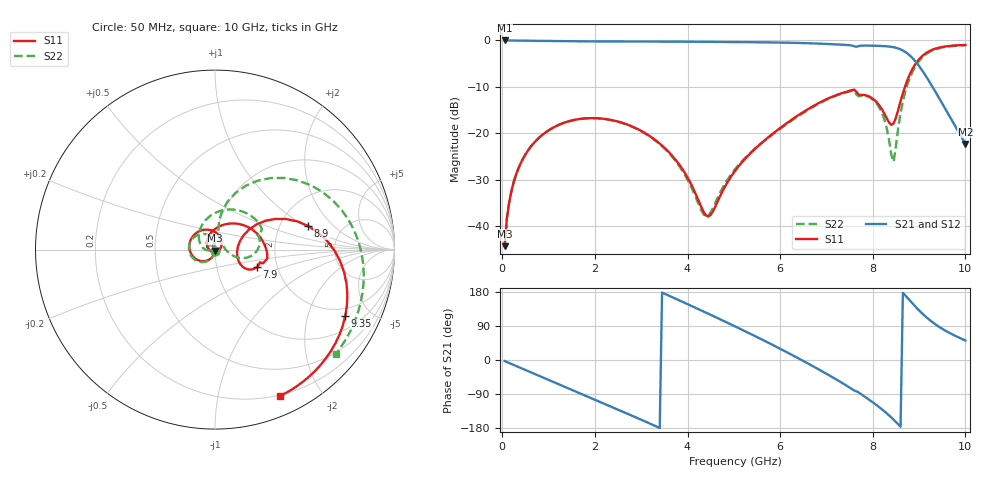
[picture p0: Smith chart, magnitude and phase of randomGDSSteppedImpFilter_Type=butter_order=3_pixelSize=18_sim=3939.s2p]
! freq	dB(S11)	phase(S11)	dB(S12)	phase(S12)
!  dB(S21)	phase(S21)	dB(S22)	phase(S22)
!S-par simulation data
#  GHz  S  DB  R 50
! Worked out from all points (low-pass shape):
!   200 points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, 50 MHz to 10 GHz, reference 50 ohm
!   highest |S21| = 0.00 dB at 50 MHz (marker M1); lowest = -22.3 dB at 10 GHz (marker M2)
!   |S21| within 3 dB of the highest: start of sweep to 8.772 GHz
!   lowest |S11| = -44.3 dB at 50 MHz (marker M3), VSWR 1.01, Z = 50 - j0.611 ohm
!   |S11| at or under -10 dB: start of sweep to 8.695 GHz
!   |S22| runs from -44.3 to -1.0 dB; largest |S21 - S12| = 0
!   S11 on the Smith chart (normalised r, x): 50 MHz: 1.00, -0.01; 7.9 GHz: 1.56, -0.33; 8.9 GHz: 2.87, +1.06; 9.35 GHz: 1.58, -3.49; 10 GHz: 0.19, -1.52
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0.05  -44.27 -92.1  -0.00 -2.7  -0.00 -2.7  -44.27 -91.9
0.2  -32.27 -100.9  -0.02 -10.6  -0.02 -10.6  -32.26 -100.0
0.5  -24.53 -117.7  -0.05 -26.3  -0.05 -26.3  -24.53 -115.3
1.15  -18.49 -154.0  -0.13 -60.3  -0.13 -60.3  -18.49 -148.1
1.75  -16.80 172.4  -0.20 -91.5  -0.20 -91.5  -16.81 -177.5
2.5  -17.46 129.0  -0.23 -130.9  -0.23 -130.9  -17.49 146.9
3.4  -22.19 70.7  -0.25 -179.3  -0.25 -179.3  -22.33 108.1
3.9  -27.85 29.3  -0.27 153.0  -0.27 153.0  -28.24 94.5
4.4  -37.66 -64.0  -0.30 124.9  -0.30 124.9  -37.86 140.0
5.05  -27.75 164.9  -0.35 87.3  -0.35 87.3  -27.40 -174.8
5.5  -22.93 126.0  -0.39 60.5  -0.39 60.5  -22.92 169.3
6  -18.84 90.3  -0.46 29.7  -0.46 29.7  -19.02 143.4
6.7  -14.20 47.0  -0.63 -15.8  -0.63 -15.8  -14.39 97.2
7.35  -11.29 8.6  -0.92 -61.4  -0.92 -61.4  -11.39 48.0
7.9  -11.97 -23.1  -1.11 -102.9  -1.11 -102.9  -12.10 5.5
8.15  -14.09 -31.9  -1.17 -125.5  -1.17 -125.5  -14.61 -13.7
8.35  -17.65 -18.1  -1.31 -146.0  -1.31 -146.0  -21.34 -15.4
8.45  -17.84 7.2  -1.46 -157.4  -1.46 -157.4  -26.10 38.0
8.65  -11.38 31.2  -2.17 177.3  -2.17 177.3  -13.15 79.4
8.9  -5.41 14.2  -4.26 143.6  -4.26 143.6  -5.95 52.2
9.35  -1.78 -27.0  -10.99 94.3  -10.99 94.3  -1.93 3.3
10  -0.99 -66.0  -22.26 51.5  -22.26 51.5  -1.02 -40.8
